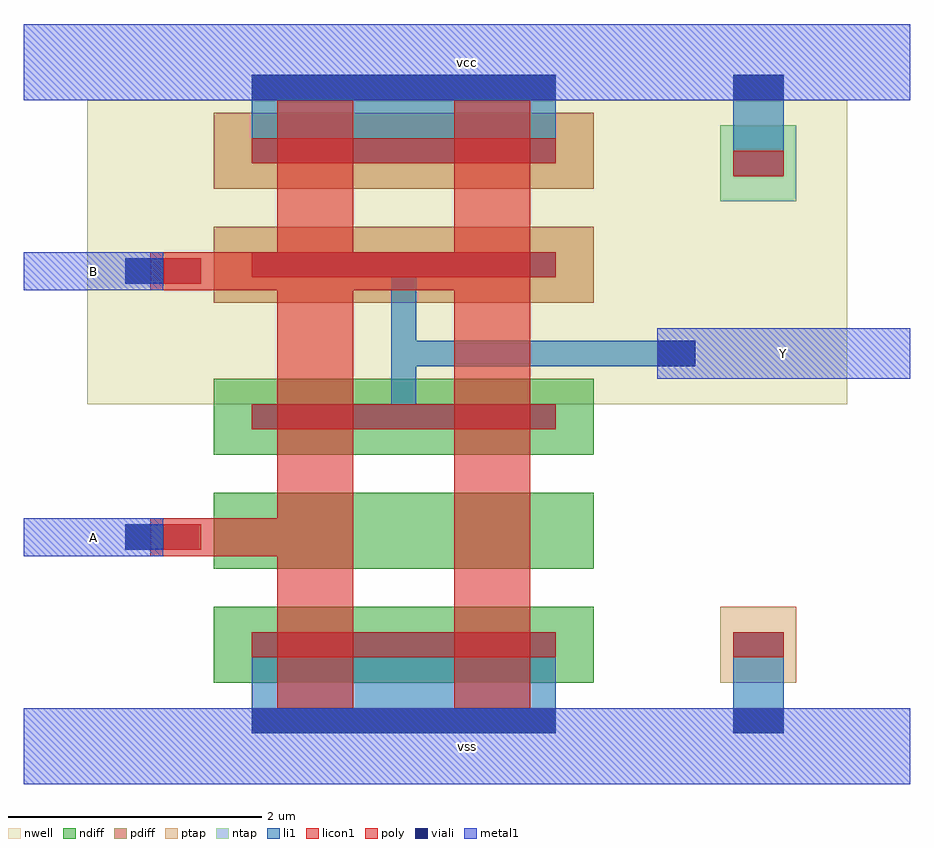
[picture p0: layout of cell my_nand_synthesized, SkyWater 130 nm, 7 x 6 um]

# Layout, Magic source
magic
tech sky130A
<< nwell >>
rect 50 300 650 540
<< pdiff >>
rect 150 380 450 440
rect 150 470 450 530
<< ndiff >>
rect 150 80 450 140
rect 150 170 450 230
rect 150 260 450 320
<< ntap >>
rect 550 460 610 520
<< ptap >>
rect 550 80 610 140
<< poly >>
rect 100 180 260 210
rect 200 60 260 540
rect 100 390 400 420
rect 340 60 400 540
<< licon1 >>
rect 110 185 140 205
rect 110 395 140 415
rect 180 100 420 120
rect 180 280 420 300
rect 180 400 420 420
rect 180 490 420 510
rect 560 100 600 120
rect 560 480 600 500
<< viali >>
rect 80 185 110 205
rect 80 395 110 415
rect 180 40 420 60
rect 560 40 600 60
rect 180 540 420 560
rect 560 540 600 560
rect 500 330 530 350
<< li1 >>
rect 80 185 140 205
rect 80 395 140 415
rect 180 40 420 120
rect 560 40 600 120
rect 180 490 420 560
rect 560 480 600 560
rect 180 280 420 300
rect 180 400 420 420
rect 290 280 310 420
rect 290 330 530 350
<< metal1 >>
rect 0 540 700 600
rect 0 0 700 60
rect 0 180 110 210
rect 0 390 110 420
rect 500 320 700 360
<< labels >>
rlabel metal1 0 180 110 210 5 A
rlabel metal1 0 390 110 420 5 B
rlabel metal1 500 320 700 360 5 Y
rlabel metal1 0 540 700 600 5 vcc
rlabel metal1 0 0 700 60 5 vss
<< end >>
